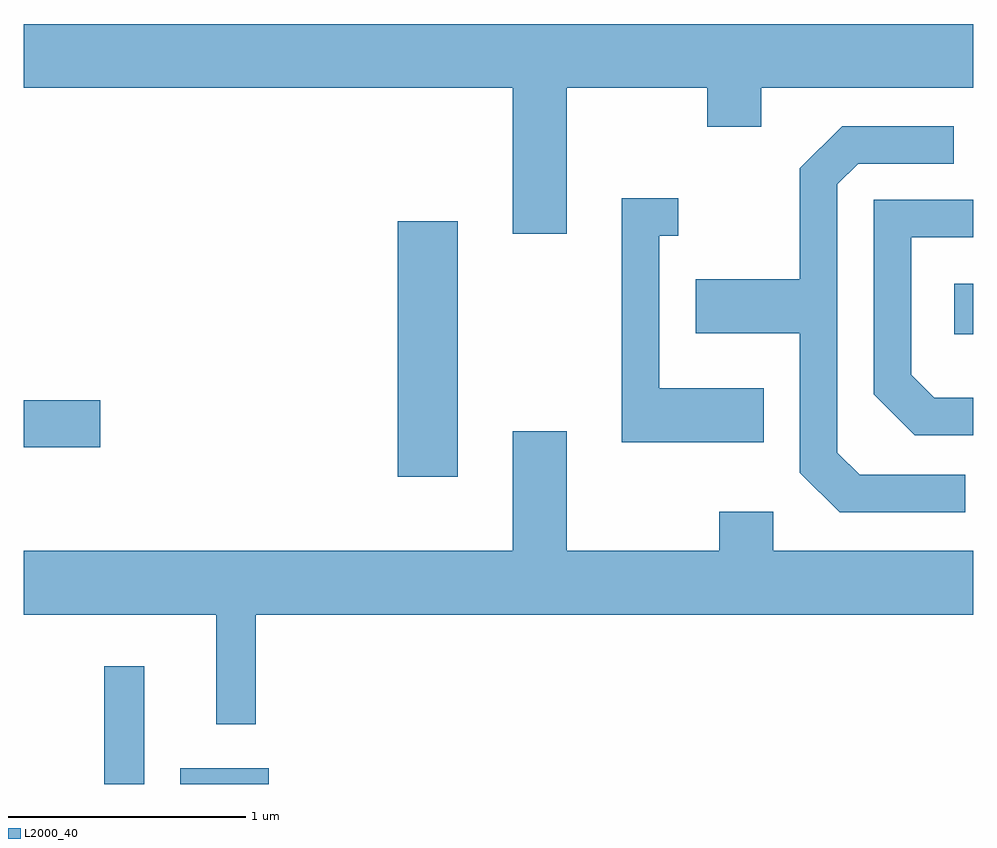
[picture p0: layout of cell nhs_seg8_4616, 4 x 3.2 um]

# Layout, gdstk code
import gdstk
lib = gdstk.Library(unit=1e-6, precision=1e-09)
def R(c, l, rs):  # rectangles x0, y0, x1, y1
    for r in rs: c.add(gdstk.rectangle(r[:2], r[2:], *l))
def P(c, l, *ps):  # polygons
    for p in ps: c.add(gdstk.Polygon(p, *l))
L2000_40 = (2000, 40)

nhs_seg8_4616 = lib.new_cell('nhs_seg8_4616')
R(nhs_seg8_4616, L2000_40, [(323.951,1862.342,324.119,1862.838), (324.271,1862.342,324.644,1862.409), (325.186,1863.636,325.439,1864.714), (323.611,1863.761,323.934,1863.959), (327.531,1864.236,327.611,1864.449)])
P(nhs_seg8_4616, L2000_40, [(325.899,1865.276),(326.491,1865.276),(326.491,1865.111),(326.719,1865.111),(326.719,1865.276),(327.611,1865.276),(327.611,1865.544),(323.611,1865.544),(323.611,1865.276),(325.671,1865.276),(325.671,1864.661),(325.899,1864.661)],
  [(327.578,1863.644),(327.132,1863.644),(327.039,1863.737),(327.039,1864.869),(327.127,1864.956),(327.528,1864.956),(327.528,1865.114),(327.059,1865.114),(326.881,1864.937),(326.881,1864.469),(326.441,1864.469),(326.441,1864.241),(326.881,1864.241),(326.881,1863.654),(327.049,1863.486),(327.578,1863.486)],
  [(326.729,1864.009),(326.289,1864.009),(326.289,1864.651),(326.368,1864.651),(326.368,1864.809),(326.131,1864.809),(326.131,1863.781),(326.729,1863.781)],
  [(327.611,1863.969),(327.447,1863.969),(327.349,1864.067),(327.349,1864.646),(327.611,1864.646),(327.611,1864.804),(327.191,1864.804),(327.191,1863.984),(327.364,1863.811),(327.611,1863.811)],
  [(324.589,1863.056),(327.611,1863.056),(327.611,1863.324),(326.769,1863.324),(326.769,1863.489),(326.541,1863.489),(326.541,1863.324),(325.899,1863.324),(325.899,1863.829),(325.671,1863.829),(325.671,1863.324),(323.611,1863.324),(323.611,1863.056),(324.421,1863.056),(324.421,1862.593),(324.589,1862.593)])

lib.write_gds('nhs_seg8_4616.gds')
